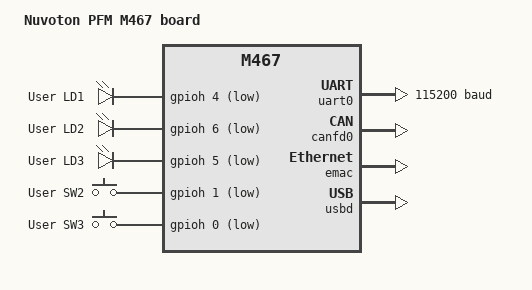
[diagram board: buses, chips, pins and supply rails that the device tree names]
/*
 * Copyright (c) 2023 Nuvoton Technology Corporation.
 *
 * SPDX-License-Identifier: Apache-2.0
 */

/dts-v1/;

#include <nuvoton/m46x.dtsi>
#include "numaker_pfm_m467-pinctrl.dtsi"
#include <zephyr/dt-bindings/input/input-event-codes.h>

/ {
	model = "Nuvoton PFM M467 board";
	compatible = "nuvoton,pfm-m467", "nuvoton,m467";

	aliases {
		led0 = &green_led;
		led1 = &blue_led;
		led2 = &red_led;
		sw0 = &user_button_1;
		sw1 = &user_button_2;
	};


	chosen {
		zephyr,console = &uart0;
		zephyr,shell-uart = &uart0;
		zephyr,sram = &sram0;
		zephyr,flash = &flash0;
		zephyr,code-partition = &slot0_partition;
		zephyr,canbus = &canfd0;
	};


	leds {
		compatible = "gpio-leds";
		red_led: led_0 {
			gpios = <&gpioh 4 GPIO_ACTIVE_LOW>;
			label = "User LD1";
		};
		green_led: led_1 {
			gpios = <&gpioh 6 GPIO_ACTIVE_LOW>;
			label = "User LD2";
		};
		blue_led: led_2 {
			gpios = <&gpioh 5 GPIO_ACTIVE_LOW>;
			label = "User LD3";
		};
	};

	gpio_keys {
		compatible = "gpio-keys";
		user_button_1: button_1 {
			label = "User SW2";
			gpios = <&gpioh 1 GPIO_ACTIVE_LOW>;
			zephyr,code = <INPUT_KEY_0>;
		};
		user_button_2: button_2 {
			label = "User SW3";
			gpios = <&gpioh 0 GPIO_ACTIVE_LOW>;
			zephyr,code = <INPUT_KEY_1>;
		};
	};
};

&scc {
	/* For USB 1.1 Host/Device/OTG, configure to 192MHz, which can generate necessary 48MHz. */
	/* For USB 2.0 Host/Device/OTG or no USB application, comment out to use default. */
	core-clock = <192000000>;
};

&gpiob {
	status = "okay";
};

&gpioh {
	status = "okay";
};

&flash0 {
	partitions {
		compatible = "fixed-partitions";
		#address-cells = <1>;
		#size-cells = <1>;

		slot0_partition: partition@0 {
			label = "image-0";
			reg = <0x00000000 0x00080000>;
		};
		slot1_partition: partition@80000 {
			label = "image-1";
			reg = <0x00080000 0x0007e000>;
		};
		storage_partition: partition@fe000 {
			label = "storage";
			reg = <0x000fe000 0x00002000>;
		};
	};
};

&sram0 {
	reg = <0x20000000 DT_SIZE_K(512)>;
};

&uart0 {
	current-speed = <115200>;
	pinctrl-0 = <&uart0_default>;
	pinctrl-names = "default";
	status = "okay";
};

&canfd0 {
	pinctrl-0 = <&canfd0_default>;
	pinctrl-names = "default";
	status = "okay";
};

&emac {
	pinctrl-0 = <&emac_default>;
	pinctrl-names = "default";
	status = "okay";
};

/* On enabled, 'core-clock', as above, is required to be 192MHz. */
zephyr_udc0: &usbd {
	pinctrl-0 = <&usbd_default>;
	pinctrl-names = "default";
	status = "okay";
};
